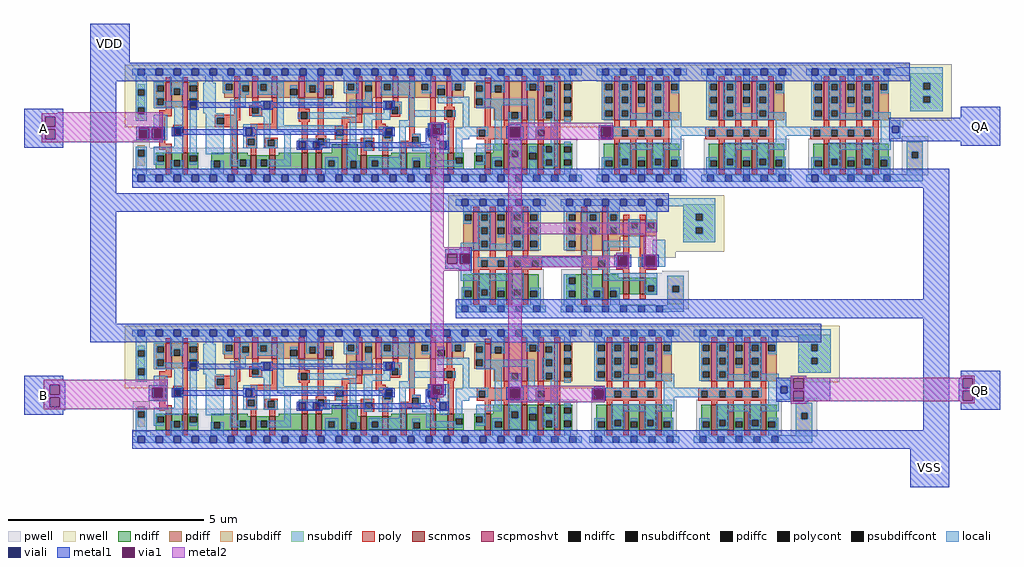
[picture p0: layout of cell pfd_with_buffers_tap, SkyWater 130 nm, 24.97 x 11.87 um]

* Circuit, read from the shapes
.subckt pfd_with_buffers_tap QA A VDD VSS B QB
XM1 VSS B n1 VSS sky130_fd_pr__nfet_01v8 w=0.42 l=0.15
XM2 VSS A n2 VSS sky130_fd_pr__nfet_01v8 w=0.42 l=0.15
XM3 n3 n1 VSS VSS sky130_fd_pr__nfet_01v8 w=0.42 l=0.15
XM4 n4 n2 VSS VSS sky130_fd_pr__nfet_01v8 w=0.42 l=0.15
XM5 n5 VDD VSS VSS sky130_fd_pr__nfet_01v8 w=0.42 l=0.15
XM6 n6 VDD VSS VSS sky130_fd_pr__nfet_01v8 w=0.42 l=0.15
XM7 n7 n1 n5 VSS sky130_fd_pr__nfet_01v8 w=0.36 l=0.15
XM8 n8 n2 n6 VSS sky130_fd_pr__nfet_01v8 w=0.36 l=0.15
XM9 n9 n3 n7 VSS sky130_fd_pr__nfet_01v8 w=0.36 l=0.15
XM10 n10 n4 n8 VSS sky130_fd_pr__nfet_01v8 w=0.36 l=0.15
XM11 n11 n12 n9 VSS sky130_fd_pr__nfet_01v8 w=0.42 l=0.15
XM12 n13 n14 n10 VSS sky130_fd_pr__nfet_01v8 w=0.42 l=0.15
XM13 VSS x1/RESET_B n11 VSS sky130_fd_pr__nfet_01v8 w=0.42 l=0.15
XM14 VSS x1/RESET_B n13 VSS sky130_fd_pr__nfet_01v8 w=0.42 l=0.15
XM15 n12 n7 VSS VSS sky130_fd_pr__nfet_01v8 w=0.64 l=0.15
XM16 n14 n8 VSS VSS sky130_fd_pr__nfet_01v8 w=0.64 l=0.15
XM17 n15 n3 n12 VSS sky130_fd_pr__nfet_01v8 w=0.36 l=0.15
XM18 n16 n4 n14 VSS sky130_fd_pr__nfet_01v8 w=0.36 l=0.15
XM19 n17 n1 n15 VSS sky130_fd_pr__nfet_01v8 w=0.36 l=0.15
XM20 n18 n2 n16 VSS sky130_fd_pr__nfet_01v8 w=0.36 l=0.15
XM21 VSS n19 n17 VSS sky130_fd_pr__nfet_01v8 w=0.42 l=0.15
XM22 VSS n20 n18 VSS sky130_fd_pr__nfet_01v8 w=0.42 l=0.15
XM23 n21 x1/RESET_B VSS VSS sky130_fd_pr__nfet_01v8 w=0.42 l=0.15
XM24 n22 x1/RESET_B VSS VSS sky130_fd_pr__nfet_01v8 w=0.42 l=0.15
XM25 n19 n15 n21 VSS sky130_fd_pr__nfet_01v8 w=0.42 l=0.15
XM26 n20 n16 n22 VSS sky130_fd_pr__nfet_01v8 w=0.42 l=0.15
XM27 x1/RESET_B x4/A VSS VSS sky130_fd_pr__nfet_01v8 w=0.65 l=0.15 m=4
XM28 VSS n19 n23 VSS sky130_fd_pr__nfet_01v8 w=0.42 l=0.15
XM29 VSS n20 n24 VSS sky130_fd_pr__nfet_01v8 w=0.42 l=0.15
XM30 x5/A n19 VSS VSS sky130_fd_pr__nfet_01v8 w=0.65 l=0.15 m=2
XM31 x3/A n20 VSS VSS sky130_fd_pr__nfet_01v8 w=0.65 l=0.15 m=2
XM32 x2/Q_N n23 VSS VSS sky130_fd_pr__nfet_01v8 w=0.65 l=0.15 m=2
XM33 x1/Q_N n24 VSS VSS sky130_fd_pr__nfet_01v8 w=0.65 l=0.15 m=2
XM34 x4/A n25 VSS VSS sky130_fd_pr__nfet_01v8 w=0.65 l=0.15 m=2
XM35 x6/A x5/A VSS VSS sky130_fd_pr__nfet_01v8 w=0.65 l=0.15 m=4
XM36 x8/A x3/A VSS VSS sky130_fd_pr__nfet_01v8 w=0.65 l=0.15 m=4
XM37 n26 x5/A VSS VSS sky130_fd_pr__nfet_01v8 w=0.42 l=0.15
XM38 n25 x3/A n26 VSS sky130_fd_pr__nfet_01v8 w=0.42 l=0.15
XM39 QB x6/A VSS VSS sky130_fd_pr__nfet_01v8 w=0.65 l=0.15 m=4
XM40 x9/A x8/A VSS VSS sky130_fd_pr__nfet_01v8 w=0.65 l=0.15 m=4
XM41 QA x9/A VSS VSS sky130_fd_pr__nfet_01v8 w=0.65 l=0.15 m=4
XM42 VDD B n1 VDD sky130_fd_pr__pfet_01v8_hvt w=0.64 l=0.15
XM43 VDD A n2 VDD sky130_fd_pr__pfet_01v8_hvt w=0.64 l=0.15
XM44 n3 n1 VDD VDD sky130_fd_pr__pfet_01v8_hvt w=0.64 l=0.15
XM45 n4 n2 VDD VDD sky130_fd_pr__pfet_01v8_hvt w=0.64 l=0.15
XM46 n5 VDD VDD VDD sky130_fd_pr__pfet_01v8_hvt w=0.42 l=0.15
XM47 n6 VDD VDD VDD sky130_fd_pr__pfet_01v8_hvt w=0.42 l=0.15
XM48 n7 n3 n5 VDD sky130_fd_pr__pfet_01v8_hvt w=0.42 l=0.15
XM49 n8 n4 n6 VDD sky130_fd_pr__pfet_01v8_hvt w=0.42 l=0.15
XM50 n27 n1 n7 VDD sky130_fd_pr__pfet_01v8_hvt w=0.42 l=0.15
XM51 n28 n2 n8 VDD sky130_fd_pr__pfet_01v8_hvt w=0.42 l=0.15
XM52 VDD n12 n27 VDD sky130_fd_pr__pfet_01v8_hvt w=0.42 l=0.15
XM53 VDD n14 n28 VDD sky130_fd_pr__pfet_01v8_hvt w=0.42 l=0.15
XM54 n27 x1/RESET_B VDD VDD sky130_fd_pr__pfet_01v8_hvt w=0.42 l=0.15
XM55 n28 x1/RESET_B VDD VDD sky130_fd_pr__pfet_01v8_hvt w=0.42 l=0.15
XM56 n12 n7 VDD VDD sky130_fd_pr__pfet_01v8_hvt w=0.84 l=0.15
XM57 n14 n8 VDD VDD sky130_fd_pr__pfet_01v8_hvt w=0.84 l=0.15
XM58 n15 n1 n12 VDD sky130_fd_pr__pfet_01v8_hvt w=0.42 l=0.15
XM59 n16 n2 n14 VDD sky130_fd_pr__pfet_01v8_hvt w=0.42 l=0.15
XM60 n29 n3 n15 VDD sky130_fd_pr__pfet_01v8_hvt w=0.42 l=0.15
XM61 n30 n4 n16 VDD sky130_fd_pr__pfet_01v8_hvt w=0.42 l=0.15
XM62 VDD n19 n29 VDD sky130_fd_pr__pfet_01v8_hvt w=0.42 l=0.15
XM63 VDD n20 n30 VDD sky130_fd_pr__pfet_01v8_hvt w=0.42 l=0.15
XM64 n19 x1/RESET_B VDD VDD sky130_fd_pr__pfet_01v8_hvt w=0.42 l=0.15
XM65 n20 x1/RESET_B VDD VDD sky130_fd_pr__pfet_01v8_hvt w=0.42 l=0.15
XM66 VDD n15 n19 VDD sky130_fd_pr__pfet_01v8_hvt w=0.42 l=0.15
XM67 VDD n16 n20 VDD sky130_fd_pr__pfet_01v8_hvt w=0.42 l=0.15
XM68 x1/RESET_B x4/A VDD VDD sky130_fd_pr__pfet_01v8_hvt w=1 l=0.15 m=4
XM69 VDD n19 n23 VDD sky130_fd_pr__pfet_01v8_hvt w=0.64 l=0.15
XM70 VDD n20 n24 VDD sky130_fd_pr__pfet_01v8_hvt w=0.64 l=0.15
XM71 x5/A n19 VDD VDD sky130_fd_pr__pfet_01v8_hvt w=1 l=0.15 m=2
XM72 x3/A n20 VDD VDD sky130_fd_pr__pfet_01v8_hvt w=1 l=0.15 m=2
XM73 x2/Q_N n23 VDD VDD sky130_fd_pr__pfet_01v8_hvt w=1 l=0.15 m=2
XM74 x1/Q_N n24 VDD VDD sky130_fd_pr__pfet_01v8_hvt w=1 l=0.15 m=2
XM75 x4/A n25 VDD VDD sky130_fd_pr__pfet_01v8_hvt w=1 l=0.15 m=2
XM76 x6/A x5/A VDD VDD sky130_fd_pr__pfet_01v8_hvt w=1 l=0.15 m=4
XM77 x8/A x3/A VDD VDD sky130_fd_pr__pfet_01v8_hvt w=1 l=0.15 m=4
XM78 n25 x5/A VDD VDD sky130_fd_pr__pfet_01v8_hvt w=0.42 l=0.15
XM79 VDD x3/A n25 VDD sky130_fd_pr__pfet_01v8_hvt w=0.42 l=0.15
XM80 QB x6/A VDD VDD sky130_fd_pr__pfet_01v8_hvt w=1 l=0.15 m=4
XM81 x9/A x8/A VDD VDD sky130_fd_pr__pfet_01v8_hvt w=1 l=0.15 m=4
XM82 QA x9/A VDD VDD sky130_fd_pr__pfet_01v8_hvt w=1 l=0.15 m=4
.ends

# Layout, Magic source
magic
tech sky130A
magscale 1 2
<< nwell >>
rect 6072 16 6320 306
rect 4908 -654 5156 -364
rect 5498 -1322 5746 -1032
<< pwell >>
rect 6062 -262 6198 -64
rect 4838 -948 4974 -750
rect 5496 -1598 5632 -1400
<< psubdiff >>
rect 6088 -141 6172 -90
rect 6088 -175 6114 -141
rect 6148 -175 6172 -141
rect 6088 -236 6172 -175
rect 4864 -827 4948 -776
rect 4864 -861 4890 -827
rect 4924 -861 4948 -827
rect 4864 -922 4948 -861
rect 5522 -1477 5606 -1426
rect 5522 -1511 5548 -1477
rect 5582 -1511 5606 -1477
rect 5522 -1572 5606 -1511
<< nsubdiff >>
rect 6108 210 6274 260
rect 6108 176 6174 210
rect 6208 176 6274 210
rect 6108 142 6274 176
rect 6108 108 6174 142
rect 6208 108 6274 142
rect 6108 66 6274 108
rect 4944 -460 5110 -410
rect 4944 -494 5010 -460
rect 5044 -494 5110 -460
rect 4944 -528 5110 -494
rect 4944 -562 5010 -528
rect 5044 -562 5110 -528
rect 4944 -604 5110 -562
rect 5534 -1128 5700 -1078
rect 5534 -1162 5600 -1128
rect 5634 -1162 5700 -1128
rect 5534 -1196 5700 -1162
rect 5534 -1230 5600 -1196
rect 5634 -1230 5700 -1196
rect 5534 -1272 5700 -1230
<< psubdiffcont >>
rect 6114 -175 6148 -141
rect 4890 -861 4924 -827
rect 5548 -1511 5582 -1477
<< nsubdiffcont >>
rect 6174 176 6208 210
rect 6174 108 6208 142
rect 5010 -494 5044 -460
rect 5010 -562 5044 -528
rect 5600 -1162 5634 -1128
rect 5600 -1230 5634 -1196
<< locali >>
rect 2500 204 2538 262
rect 6034 248 6274 290
rect 6108 210 6274 248
rect 6108 176 6174 210
rect 6208 176 6274 210
rect 6108 142 6274 176
rect 6108 108 6174 142
rect 6208 108 6274 142
rect 6108 66 6274 108
rect 6006 -11 6056 20
rect 2158 -31 2280 -20
rect 2158 -65 2166 -31
rect 2200 -65 2238 -31
rect 2272 -65 2280 -31
rect 2158 -76 2280 -65
rect 4060 -26 4108 -14
rect 4060 -60 4067 -26
rect 4101 -60 4108 -26
rect 4536 -23 4570 -22
rect 4536 -58 4570 -57
rect 4896 -60 5068 -14
rect 5436 -60 5608 -14
rect 6006 -45 6014 -11
rect 6048 -45 6056 -11
rect 4060 -72 4108 -60
rect 6006 -76 6056 -45
rect 6088 -141 6172 -90
rect 6088 -175 6114 -141
rect 6148 -175 6172 -141
rect 6088 -256 6172 -175
rect 6004 -272 6172 -256
rect 6034 -294 6172 -272
rect 4870 -420 5110 -380
rect 4944 -460 5110 -420
rect 4944 -494 5010 -460
rect 5044 -494 5110 -460
rect 4944 -528 5110 -494
rect 4944 -562 5010 -528
rect 5044 -562 5110 -528
rect 4944 -604 5110 -562
rect 3808 -674 3858 -644
rect 3808 -708 3816 -674
rect 3850 -708 3858 -674
rect 3808 -738 3858 -708
rect 4220 -732 4428 -682
rect 4614 -718 4622 -684
rect 4656 -718 4664 -684
rect 4752 -716 4760 -682
rect 4794 -716 4802 -682
rect 4864 -827 4948 -776
rect 4864 -861 4890 -827
rect 4924 -861 4948 -827
rect 4864 -928 4948 -861
rect 4620 -930 4948 -928
rect 4864 -962 4948 -930
rect 2502 -1124 2540 -1084
rect 5460 -1088 5700 -1050
rect 5534 -1128 5700 -1088
rect 5534 -1162 5600 -1128
rect 5634 -1162 5700 -1128
rect 5534 -1196 5700 -1162
rect 5534 -1230 5600 -1196
rect 5634 -1230 5700 -1196
rect 5534 -1272 5700 -1230
rect 5428 -1343 5492 -1310
rect 2236 -1360 2284 -1350
rect 4496 -1355 4530 -1354
rect 2236 -1394 2243 -1360
rect 2277 -1394 2284 -1360
rect 2236 -1404 2284 -1394
rect 4068 -1362 4102 -1356
rect 4496 -1390 4530 -1389
rect 4068 -1402 4102 -1396
rect 4846 -1398 5024 -1350
rect 5428 -1377 5443 -1343
rect 5477 -1377 5492 -1343
rect 5428 -1410 5492 -1377
rect 5522 -1477 5606 -1426
rect 5522 -1511 5548 -1477
rect 5582 -1511 5606 -1477
rect 5522 -1594 5606 -1511
rect 5428 -1600 5606 -1594
rect 5458 -1630 5606 -1600
<< viali >>
rect 2166 -65 2200 -31
rect 2238 -65 2272 -31
rect 4067 -60 4101 -26
rect 4536 -57 4570 -23
rect 6014 -45 6048 -11
rect 3816 -708 3850 -674
rect 4622 -718 4656 -684
rect 4760 -716 4794 -682
rect 2243 -1394 2277 -1360
rect 4068 -1396 4102 -1362
rect 4496 -1389 4530 -1355
rect 5443 -1377 5477 -1343
<< metal1 >>
rect 1912 314 2112 514
rect 1912 218 2224 314
rect 4132 220 4540 314
rect 4962 218 5318 314
rect 5498 218 5574 314
rect 5750 218 6104 314
rect 1572 38 1772 78
rect 1572 -14 1680 38
rect 1732 -14 1772 38
rect 1572 -26 1772 -14
rect 1572 -78 1680 -26
rect 1732 -78 1772 -26
rect 1572 -122 1772 -78
rect 1912 -354 2044 218
rect 6366 32 6566 88
rect 3644 -2 3730 0
rect 2146 -22 2292 -14
rect 2146 -74 2161 -22
rect 2213 -74 2225 -22
rect 2277 -74 2292 -22
rect 3644 -54 3661 -2
rect 3713 -54 3730 -2
rect 4054 -12 4114 -2
rect 3644 -56 3730 -54
rect 4040 -17 4128 -12
rect 4040 -69 4058 -17
rect 4110 -69 4128 -17
rect 4040 -74 4128 -69
rect 4514 -13 4586 -6
rect 4514 -65 4524 -13
rect 4576 -65 4586 -13
rect 4514 -72 4586 -65
rect 6000 -11 6566 32
rect 6000 -45 6014 -11
rect 6048 -45 6566 -11
rect 2146 -82 2292 -74
rect 4054 -84 4114 -74
rect 6000 -88 6566 -45
rect 6366 -112 6566 -88
rect 4132 -326 4504 -230
rect 4962 -326 5574 -230
rect 5652 -326 6306 -230
rect 1912 -450 3782 -354
rect 4242 -450 4318 -354
rect 1912 -1022 2044 -450
rect 3802 -640 3864 -632
rect 3728 -664 3864 -640
rect 3728 -716 3738 -664
rect 3790 -716 3802 -664
rect 3854 -716 3864 -664
rect 4592 -673 4680 -668
rect 3728 -740 3864 -716
rect 4220 -732 4434 -680
rect 4592 -725 4610 -673
rect 4662 -725 4680 -673
rect 4592 -730 4680 -725
rect 4732 -673 4820 -668
rect 4732 -725 4750 -673
rect 4802 -725 4820 -673
rect 4732 -730 4820 -725
rect 3802 -750 3864 -740
rect 6174 -898 6306 -326
rect 3782 -994 6306 -898
rect 1912 -1118 2226 -1022
rect 4132 -1116 5652 -1022
rect 1572 -1318 1772 -1288
rect 5422 -1302 5698 -1298
rect 1572 -1334 1782 -1318
rect 1572 -1386 1704 -1334
rect 1756 -1386 1782 -1334
rect 3644 -1334 3730 -1332
rect 1572 -1398 1782 -1386
rect 1572 -1450 1704 -1398
rect 1756 -1450 1782 -1398
rect 2210 -1350 2300 -1336
rect 2210 -1402 2229 -1350
rect 2281 -1402 2300 -1350
rect 3644 -1386 3661 -1334
rect 3713 -1386 3730 -1334
rect 4062 -1348 4108 -1344
rect 3644 -1388 3730 -1386
rect 4040 -1353 4128 -1348
rect 4490 -1352 4536 -1342
rect 5422 -1343 5509 -1302
rect 2210 -1416 2300 -1402
rect 4040 -1405 4058 -1353
rect 4110 -1405 4128 -1353
rect 4040 -1410 4128 -1405
rect 4476 -1355 4548 -1352
rect 4476 -1357 4496 -1355
rect 4530 -1357 4548 -1355
rect 4476 -1409 4486 -1357
rect 4538 -1409 4548 -1357
rect 4062 -1414 4108 -1410
rect 4476 -1414 4548 -1409
rect 5422 -1377 5443 -1343
rect 5477 -1354 5509 -1343
rect 5561 -1354 5698 -1302
rect 5477 -1366 5698 -1354
rect 5477 -1377 5509 -1366
rect 5422 -1418 5509 -1377
rect 5561 -1418 5698 -1366
rect 5422 -1422 5584 -1418
rect 1572 -1466 1782 -1450
rect 1572 -1488 1772 -1466
rect 6174 -1566 6306 -994
rect 6366 -1298 6566 -1262
rect 6356 -1300 6566 -1298
rect 6356 -1352 6375 -1300
rect 6427 -1352 6566 -1300
rect 6356 -1364 6566 -1352
rect 6356 -1416 6375 -1364
rect 6427 -1416 6566 -1364
rect 6356 -1418 6566 -1416
rect 6366 -1462 6566 -1418
rect 4132 -1662 6306 -1566
rect 6106 -1860 6306 -1662
<< via1 >>
rect 1680 -14 1732 38
rect 1680 -78 1732 -26
rect 2161 -31 2213 -22
rect 2161 -65 2166 -31
rect 2166 -65 2200 -31
rect 2200 -65 2213 -31
rect 2161 -74 2213 -65
rect 2225 -31 2277 -22
rect 2225 -65 2238 -31
rect 2238 -65 2272 -31
rect 2272 -65 2277 -31
rect 2225 -74 2277 -65
rect 3661 -54 3713 -2
rect 4058 -26 4110 -17
rect 4058 -60 4067 -26
rect 4067 -60 4101 -26
rect 4101 -60 4110 -26
rect 4058 -69 4110 -60
rect 4524 -23 4576 -13
rect 4524 -57 4536 -23
rect 4536 -57 4570 -23
rect 4570 -57 4576 -23
rect 4524 -65 4576 -57
rect 3738 -716 3790 -664
rect 3802 -674 3854 -664
rect 3802 -708 3816 -674
rect 3816 -708 3850 -674
rect 3850 -708 3854 -674
rect 3802 -716 3854 -708
rect 4610 -684 4662 -673
rect 4610 -718 4622 -684
rect 4622 -718 4656 -684
rect 4656 -718 4662 -684
rect 4610 -725 4662 -718
rect 4750 -682 4802 -673
rect 4750 -716 4760 -682
rect 4760 -716 4794 -682
rect 4794 -716 4802 -682
rect 4750 -725 4802 -716
rect 1704 -1386 1756 -1334
rect 1704 -1450 1756 -1398
rect 2229 -1360 2281 -1350
rect 2229 -1394 2243 -1360
rect 2243 -1394 2277 -1360
rect 2277 -1394 2281 -1360
rect 2229 -1402 2281 -1394
rect 3661 -1386 3713 -1334
rect 4058 -1362 4110 -1353
rect 4058 -1396 4068 -1362
rect 4068 -1396 4102 -1362
rect 4102 -1396 4110 -1362
rect 4058 -1405 4110 -1396
rect 4486 -1389 4496 -1357
rect 4496 -1389 4530 -1357
rect 4530 -1389 4538 -1357
rect 4486 -1409 4538 -1389
rect 5509 -1354 5561 -1302
rect 5509 -1418 5561 -1366
rect 6375 -1352 6427 -1300
rect 6375 -1416 6427 -1364
<< metal2 >>
rect 1744 54 2281 60
rect 1664 38 2281 54
rect 1664 -14 1680 38
rect 1732 -14 2281 38
rect 1664 -22 2281 -14
rect 1664 -26 2161 -22
rect 1664 -78 1680 -26
rect 1732 -74 2161 -26
rect 2213 -74 2225 -22
rect 2277 -74 2281 -22
rect 1732 -78 2281 -74
rect 1664 -94 2281 -78
rect 3654 -2 3720 10
rect 3654 -54 3661 -2
rect 3713 -54 3720 -2
rect 3654 -630 3720 -54
rect 4050 -13 4584 6
rect 4050 -17 4524 -13
rect 4050 -69 4058 -17
rect 4110 -65 4524 -17
rect 4576 -65 4584 -13
rect 4110 -69 4584 -65
rect 4050 -82 4584 -69
rect 4050 -506 4118 -82
rect 4050 -564 4810 -506
rect 3654 -664 3854 -630
rect 3654 -716 3738 -664
rect 3790 -716 3802 -664
rect 4602 -673 4670 -658
rect 4602 -674 4610 -673
rect 3654 -750 3854 -716
rect 4050 -725 4610 -674
rect 4662 -725 4670 -673
rect 4050 -732 4670 -725
rect 1674 -1334 2308 -1310
rect 1674 -1386 1704 -1334
rect 1756 -1350 2308 -1334
rect 1756 -1386 2229 -1350
rect 1674 -1398 2229 -1386
rect 1674 -1450 1704 -1398
rect 1756 -1402 2229 -1398
rect 2281 -1402 2308 -1350
rect 3654 -1334 3720 -750
rect 3654 -1386 3661 -1334
rect 3713 -1386 3720 -1334
rect 3654 -1398 3720 -1386
rect 4050 -1340 4118 -732
rect 4602 -740 4670 -732
rect 4742 -673 4810 -564
rect 4742 -725 4750 -673
rect 4802 -725 4810 -673
rect 4742 -740 4810 -725
rect 5496 -1298 5574 -1288
rect 6366 -1298 6436 -1288
rect 5496 -1300 6436 -1298
rect 5496 -1302 6375 -1300
rect 4050 -1353 4544 -1340
rect 1756 -1450 2308 -1402
rect 4050 -1405 4058 -1353
rect 4110 -1357 4544 -1353
rect 4110 -1405 4486 -1357
rect 4050 -1409 4486 -1405
rect 4538 -1409 4544 -1357
rect 4050 -1424 4544 -1409
rect 5496 -1354 5509 -1302
rect 5561 -1352 6375 -1302
rect 6427 -1352 6436 -1300
rect 5561 -1354 6436 -1352
rect 5496 -1364 6436 -1354
rect 5496 -1366 6375 -1364
rect 5496 -1418 5509 -1366
rect 5561 -1416 6375 -1366
rect 6427 -1416 6436 -1364
rect 5561 -1418 6436 -1416
rect 5496 -1432 5574 -1418
rect 6366 -1428 6436 -1418
rect 1674 -1460 2308 -1450
use sky130_fd_sc_hd__tapvpwrvgnd_1  sky130_fd_sc_hd__tapvpwrvgnd_1_0 $PDKPATH/libs.ref/sky130_fd_sc_hd/mag
transform 1 0 2126 0 1 -1614
box -38 -48 130 592
use sky130_fd_sc_hd__tapvpwrvgnd_1  sky130_fd_sc_hd__tapvpwrvgnd_1_1
transform 1 0 2126 0 1 -278
box -38 -48 130 592
use sky130_fd_sc_hd__dfrbp_2#0  x1
transform 1 0 2218 0 1 -278
box -38 -48 2246 592
use sky130_fd_sc_hd__dfrbp_2#0  x2
transform 1 0 2218 0 1 -1614
box -38 -48 2246 592
use sky130_fd_sc_hd__and2_2#0  x3
transform -1 0 4870 0 1 -946
box -38 -48 590 592
use sky130_fd_sc_hd__inv_4#0  x4
transform -1 0 4242 0 1 -946
box -38 -48 498 592
use sky130_fd_sc_hd__inv_4#0  x5
transform 1 0 4464 0 1 -1614
box -38 -48 498 592
use sky130_fd_sc_hd__inv_4#0  x6
transform 1 0 5000 0 1 -1614
box -38 -48 498 592
use sky130_fd_sc_hd__inv_4#0  x7
transform 1 0 4502 0 1 -278
box -38 -48 498 592
use sky130_fd_sc_hd__inv_4#0  x8
transform 1 0 5038 0 1 -278
box -38 -48 498 592
use sky130_fd_sc_hd__inv_4#0  x9
transform 1 0 5574 0 1 -278
box -38 -48 498 592
<< labels >>
flabel metal1 s 6366 -112 6566 88 0 FreeSans 626 0 0 0 QA
port 1 nsew
flabel metal1 s 1572 -122 1772 78 0 FreeSans 626 0 0 0 A
port 2 nsew
flabel metal1 s 1912 314 2112 514 0 FreeSans 626 180 0 0 VDD
port 3 nsew
flabel metal1 s 6106 -1860 6306 -1660 0 FreeSans 626 180 0 0 VSS
port 4 nsew
flabel metal1 s 1572 -1488 1772 -1288 0 FreeSans 626 0 0 0 B
port 5 nsew
flabel metal1 s 6366 -1462 6566 -1262 0 FreeSans 626 0 0 0 QB
port 6 nsew
<< end >>

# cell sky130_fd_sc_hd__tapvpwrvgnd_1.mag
magic
tech sky130A
magscale 1 2
<< nwell >>
rect -38 261 130 582
<< pwell >>
rect 3 38 89 195
<< psubdiff >>
rect 29 145 63 169
rect 29 64 63 111
<< nsubdiff >>
rect 29 456 63 480
rect 29 363 63 422
rect 29 305 63 329
<< psubdiffcont >>
rect 29 111 63 145
<< nsubdiffcont >>
rect 29 422 63 456
rect 29 329 63 363
<< locali >>
rect 0 527 29 561
rect 63 527 92 561
rect 17 456 75 527
rect 17 422 29 456
rect 63 422 75 456
rect 17 363 75 422
rect 17 329 29 363
rect 63 329 75 363
rect 17 294 75 329
rect 17 145 75 162
rect 17 111 29 145
rect 63 111 75 145
rect 17 17 75 111
rect 0 -17 29 17
rect 63 -17 92 17
<< viali >>
rect 29 527 63 561
rect 29 -17 63 17
<< metal1 >>
rect 0 561 92 592
rect 0 527 29 561
rect 63 527 92 561
rect 0 496 92 527
rect 0 17 92 48
rect 0 -17 29 17
rect 63 -17 92 17
rect 0 -48 92 -17
<< labels >>
flabel metal1 s 21 -18 72 20 0 FreeSans 250 0 0 0 VGND
port 1 nsew
flabel metal1 s 22 524 75 553 0 FreeSans 250 0 0 0 VPWR
port 2 nsew
<< properties >>
string FIXED_BBOX 0 0 92 544
<< end >>

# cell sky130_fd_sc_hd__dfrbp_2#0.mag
magic
tech sky130A
magscale 1 2
<< nwell >>
rect -38 261 2246 582
<< pwell >>
rect 903 157 1089 201
rect 1730 157 2186 203
rect 1 21 2186 157
rect 29 -17 63 21
<< scnmos >>
rect 79 47 109 131
rect 163 47 193 131
rect 418 47 448 131
rect 513 47 543 119
rect 609 47 639 119
rect 775 47 805 131
rect 847 47 877 131
rect 979 47 1009 175
rect 1078 47 1108 119
rect 1187 47 1217 119
rect 1283 47 1313 131
rect 1432 47 1462 131
rect 1523 47 1553 131
rect 1711 47 1741 131
rect 1808 47 1838 177
rect 1900 47 1930 177
rect 1984 47 2014 177
rect 2068 47 2098 177
<< scpmoshvt >>
rect 79 363 109 491
rect 163 363 193 491
rect 430 413 460 497
rect 522 413 552 497
rect 621 413 651 497
rect 761 413 791 497
rect 858 413 888 497
rect 1055 329 1085 497
rect 1154 413 1184 497
rect 1240 413 1270 497
rect 1324 413 1354 497
rect 1432 413 1462 497
rect 1516 413 1546 497
rect 1711 361 1741 489
rect 1808 297 1838 497
rect 1900 297 1930 497
rect 1984 297 2014 497
rect 2068 297 2098 497
<< ndiff >>
rect 27 119 79 131
rect 27 85 35 119
rect 69 85 79 119
rect 27 47 79 85
rect 109 93 163 131
rect 109 59 119 93
rect 153 59 163 93
rect 109 47 163 59
rect 193 119 245 131
rect 193 85 203 119
rect 237 85 245 119
rect 193 47 245 85
rect 313 89 418 131
rect 313 55 325 89
rect 359 55 418 89
rect 313 47 418 55
rect 448 119 498 131
rect 929 131 979 175
rect 657 119 775 131
rect 448 95 513 119
rect 448 61 458 95
rect 492 61 513 95
rect 448 47 513 61
rect 543 95 609 119
rect 543 61 565 95
rect 599 61 609 95
rect 543 47 609 61
rect 639 47 775 119
rect 805 47 847 131
rect 877 93 979 131
rect 877 59 911 93
rect 945 59 979 93
rect 877 47 979 59
rect 1009 119 1063 175
rect 1756 131 1808 177
rect 1233 119 1283 131
rect 1009 89 1078 119
rect 1009 55 1023 89
rect 1057 55 1078 89
rect 1009 47 1078 55
rect 1108 93 1187 119
rect 1108 59 1133 93
rect 1167 59 1187 93
rect 1108 47 1187 59
rect 1217 47 1283 119
rect 1313 89 1432 131
rect 1313 55 1345 89
rect 1379 55 1432 89
rect 1313 47 1432 55
rect 1462 47 1523 131
rect 1553 109 1605 131
rect 1553 75 1563 109
rect 1597 75 1605 109
rect 1553 47 1605 75
rect 1659 119 1711 131
rect 1659 85 1667 119
rect 1701 85 1711 119
rect 1659 47 1711 85
rect 1741 93 1808 131
rect 1741 59 1764 93
rect 1798 59 1808 93
rect 1741 47 1808 59
rect 1838 143 1900 177
rect 1838 109 1848 143
rect 1882 109 1900 143
rect 1838 47 1900 109
rect 1930 130 1984 177
rect 1930 96 1940 130
rect 1974 96 1984 130
rect 1930 47 1984 96
rect 2014 165 2068 177
rect 2014 131 2024 165
rect 2058 131 2068 165
rect 2014 97 2068 131
rect 2014 63 2024 97
rect 2058 63 2068 97
rect 2014 47 2068 63
rect 2098 165 2160 177
rect 2098 131 2118 165
rect 2152 131 2160 165
rect 2098 97 2160 131
rect 2098 63 2118 97
rect 2152 63 2160 97
rect 2098 47 2160 63
<< pdiff >>
rect 27 477 79 491
rect 27 443 35 477
rect 69 443 79 477
rect 27 409 79 443
rect 27 375 35 409
rect 69 375 79 409
rect 27 363 79 375
rect 109 461 163 491
rect 109 427 119 461
rect 153 427 163 461
rect 109 363 163 427
rect 193 477 245 491
rect 193 443 203 477
rect 237 443 245 477
rect 193 409 245 443
rect 378 485 430 497
rect 378 451 386 485
rect 420 451 430 485
rect 378 413 430 451
rect 460 477 522 497
rect 460 443 470 477
rect 504 443 522 477
rect 460 413 522 443
rect 552 483 621 497
rect 552 449 563 483
rect 597 449 621 483
rect 552 413 621 449
rect 651 459 761 497
rect 651 425 717 459
rect 751 425 761 459
rect 651 413 761 425
rect 791 475 858 497
rect 791 441 814 475
rect 848 441 858 475
rect 791 413 858 441
rect 888 459 940 497
rect 888 425 898 459
rect 932 425 940 459
rect 888 413 940 425
rect 1003 485 1055 497
rect 1003 451 1011 485
rect 1045 451 1055 485
rect 193 375 203 409
rect 237 375 245 409
rect 193 363 245 375
rect 1003 329 1055 451
rect 1085 477 1154 497
rect 1085 443 1099 477
rect 1133 443 1154 477
rect 1085 413 1154 443
rect 1184 484 1240 497
rect 1184 450 1196 484
rect 1230 450 1240 484
rect 1184 413 1240 450
rect 1270 413 1324 497
rect 1354 485 1432 497
rect 1354 451 1388 485
rect 1422 451 1432 485
rect 1354 413 1432 451
rect 1462 459 1516 497
rect 1462 425 1472 459
rect 1506 425 1516 459
rect 1462 413 1516 425
rect 1546 485 1603 497
rect 1758 489 1808 497
rect 1546 451 1558 485
rect 1592 451 1603 485
rect 1546 413 1603 451
rect 1659 477 1711 489
rect 1659 443 1667 477
rect 1701 443 1711 477
rect 1085 329 1139 413
rect 1659 409 1711 443
rect 1659 375 1667 409
rect 1701 375 1711 409
rect 1659 361 1711 375
rect 1741 475 1808 489
rect 1741 441 1764 475
rect 1798 441 1808 475
rect 1741 361 1808 441
rect 1758 297 1808 361
rect 1838 339 1900 497
rect 1838 305 1848 339
rect 1882 305 1900 339
rect 1838 297 1900 305
rect 1930 485 1984 497
rect 1930 451 1940 485
rect 1974 451 1984 485
rect 1930 297 1984 451
rect 2014 477 2068 497
rect 2014 443 2024 477
rect 2058 443 2068 477
rect 2014 409 2068 443
rect 2014 375 2024 409
rect 2058 375 2068 409
rect 2014 341 2068 375
rect 2014 307 2024 341
rect 2058 307 2068 341
rect 2014 297 2068 307
rect 2098 485 2160 497
rect 2098 451 2118 485
rect 2152 451 2160 485
rect 2098 417 2160 451
rect 2098 383 2118 417
rect 2152 383 2160 417
rect 2098 349 2160 383
rect 2098 315 2118 349
rect 2152 315 2160 349
rect 2098 297 2160 315
<< ndiffc >>
rect 35 85 69 119
rect 119 59 153 93
rect 203 85 237 119
rect 325 55 359 89
rect 458 61 492 95
rect 565 61 599 95
rect 911 59 945 93
rect 1023 55 1057 89
rect 1133 59 1167 93
rect 1345 55 1379 89
rect 1563 75 1597 109
rect 1667 85 1701 119
rect 1764 59 1798 93
rect 1848 109 1882 143
rect 1940 96 1974 130
rect 2024 131 2058 165
rect 2024 63 2058 97
rect 2118 131 2152 165
rect 2118 63 2152 97
<< pdiffc >>
rect 35 443 69 477
rect 35 375 69 409
rect 119 427 153 461
rect 203 443 237 477
rect 386 451 420 485
rect 470 443 504 477
rect 563 449 597 483
rect 717 425 751 459
rect 814 441 848 475
rect 898 425 932 459
rect 1011 451 1045 485
rect 203 375 237 409
rect 1099 443 1133 477
rect 1196 450 1230 484
rect 1388 451 1422 485
rect 1472 425 1506 459
rect 1558 451 1592 485
rect 1667 443 1701 477
rect 1667 375 1701 409
rect 1764 441 1798 475
rect 1848 305 1882 339
rect 1940 451 1974 485
rect 2024 443 2058 477
rect 2024 375 2058 409
rect 2024 307 2058 341
rect 2118 451 2152 485
rect 2118 383 2152 417
rect 2118 315 2152 349
<< poly >>
rect 79 491 109 517
rect 163 491 193 517
rect 430 497 460 523
rect 522 497 552 523
rect 621 497 651 523
rect 761 497 791 523
rect 858 497 888 523
rect 1055 497 1085 523
rect 1154 497 1184 523
rect 1240 497 1270 523
rect 1324 497 1354 523
rect 1432 497 1462 523
rect 1516 497 1546 523
rect 79 348 109 363
rect 46 318 109 348
rect 46 265 76 318
rect 163 274 193 363
rect 430 326 460 413
rect 522 375 552 413
rect 22 249 76 265
rect 22 215 32 249
rect 66 215 76 249
rect 118 264 193 274
rect 118 230 134 264
rect 168 230 193 264
rect 331 310 460 326
rect 506 365 572 375
rect 506 331 522 365
rect 556 331 572 365
rect 506 321 572 331
rect 331 276 341 310
rect 375 296 460 310
rect 375 276 448 296
rect 621 279 651 413
rect 761 355 791 413
rect 761 339 816 355
rect 761 305 771 339
rect 805 305 816 339
rect 761 289 816 305
rect 331 260 448 276
rect 118 220 193 230
rect 22 199 76 215
rect 46 176 76 199
rect 46 146 109 176
rect 79 131 109 146
rect 163 131 193 220
rect 418 131 448 260
rect 513 249 651 279
rect 513 219 544 249
rect 490 203 544 219
rect 490 169 500 203
rect 534 169 544 203
rect 490 153 544 169
rect 586 197 652 207
rect 586 163 602 197
rect 636 163 652 197
rect 586 153 652 163
rect 513 119 543 153
rect 609 119 639 153
rect 775 131 805 289
rect 858 219 888 413
rect 1711 489 1741 515
rect 1808 497 1838 523
rect 1900 497 1930 523
rect 1984 497 2014 523
rect 2068 497 2098 523
rect 1055 314 1085 329
rect 979 284 1085 314
rect 979 267 1009 284
rect 943 251 1009 267
rect 847 203 901 219
rect 847 169 857 203
rect 891 169 901 203
rect 943 217 953 251
rect 987 217 1009 251
rect 1154 279 1184 413
rect 1240 381 1270 413
rect 1226 365 1280 381
rect 1226 331 1236 365
rect 1270 331 1280 365
rect 1226 315 1280 331
rect 1154 267 1204 279
rect 1154 255 1217 267
rect 1154 249 1241 255
rect 1175 239 1241 249
rect 1175 237 1197 239
rect 943 201 1009 217
rect 979 175 1009 201
rect 1078 191 1145 207
rect 847 153 901 169
rect 847 131 877 153
rect 1078 157 1101 191
rect 1135 157 1145 191
rect 1078 141 1145 157
rect 1187 205 1197 237
rect 1231 205 1241 239
rect 1187 189 1241 205
rect 1324 229 1354 413
rect 1432 257 1462 413
rect 1516 365 1546 413
rect 1504 349 1558 365
rect 1504 315 1514 349
rect 1548 315 1558 349
rect 1504 299 1558 315
rect 1427 241 1481 257
rect 1324 213 1385 229
rect 1324 193 1341 213
rect 1078 119 1108 141
rect 1187 119 1217 189
rect 1283 179 1341 193
rect 1375 179 1385 213
rect 1427 207 1437 241
rect 1471 207 1481 241
rect 1427 191 1481 207
rect 1283 163 1385 179
rect 1283 131 1313 163
rect 1432 131 1462 191
rect 1523 131 1553 299
rect 1711 265 1741 361
rect 1808 265 1838 297
rect 1900 265 1930 297
rect 1984 265 2014 297
rect 2068 265 2098 297
rect 1670 249 1930 265
rect 1670 215 1680 249
rect 1714 215 1930 249
rect 1670 199 1930 215
rect 1972 249 2098 265
rect 1972 215 1982 249
rect 2016 215 2098 249
rect 1972 199 2098 215
rect 1711 131 1741 199
rect 1808 177 1838 199
rect 1900 177 1930 199
rect 1984 177 2014 199
rect 2068 177 2098 199
rect 79 21 109 47
rect 163 21 193 47
rect 418 21 448 47
rect 513 21 543 47
rect 609 21 639 47
rect 775 21 805 47
rect 847 21 877 47
rect 979 21 1009 47
rect 1078 21 1108 47
rect 1187 21 1217 47
rect 1283 21 1313 47
rect 1432 21 1462 47
rect 1523 21 1553 47
rect 1711 21 1741 47
rect 1808 21 1838 47
rect 1900 21 1930 47
rect 1984 21 2014 47
rect 2068 21 2098 47
<< polycont >>
rect 32 215 66 249
rect 134 230 168 264
rect 522 331 556 365
rect 341 276 375 310
rect 771 305 805 339
rect 500 169 534 203
rect 602 163 636 197
rect 857 169 891 203
rect 953 217 987 251
rect 1236 331 1270 365
rect 1101 157 1135 191
rect 1197 205 1231 239
rect 1514 315 1548 349
rect 1341 179 1375 213
rect 1437 207 1471 241
rect 1680 215 1714 249
rect 1982 215 2016 249
<< locali >>
rect 0 527 29 561
rect 63 527 121 561
rect 155 527 213 561
rect 247 527 305 561
rect 339 527 397 561
rect 431 527 489 561
rect 523 527 581 561
rect 615 527 673 561
rect 707 527 765 561
rect 799 527 857 561
rect 891 527 949 561
rect 983 527 1041 561
rect 1075 527 1133 561
rect 1167 527 1225 561
rect 1259 527 1317 561
rect 1351 527 1409 561
rect 1443 527 1501 561
rect 1535 527 1593 561
rect 1627 527 1685 561
rect 1719 527 1777 561
rect 1811 527 1869 561
rect 1903 527 1961 561
rect 1995 527 2053 561
rect 2087 527 2145 561
rect 2179 527 2208 561
rect 18 477 69 493
rect 18 443 35 477
rect 18 409 69 443
rect 103 461 169 527
rect 103 427 119 461
rect 153 427 169 461
rect 203 477 237 493
rect 18 375 35 409
rect 203 409 237 443
rect 69 375 168 393
rect 18 359 168 375
rect 18 249 88 325
rect 18 215 32 249
rect 66 215 88 249
rect 18 195 88 215
rect 122 264 168 359
rect 122 255 134 264
rect 156 221 168 230
rect 122 161 168 221
rect 18 127 168 161
rect 18 119 69 127
rect 18 85 35 119
rect 203 119 237 357
rect 271 333 336 490
rect 370 485 420 527
rect 370 451 386 485
rect 370 435 420 451
rect 454 477 504 493
rect 454 443 470 477
rect 454 427 504 443
rect 547 483 683 493
rect 547 449 563 483
rect 597 449 683 483
rect 798 475 864 527
rect 991 485 1065 527
rect 547 427 683 449
rect 454 401 488 427
rect 409 367 488 401
rect 522 391 615 393
rect 283 310 375 333
rect 283 276 341 310
rect 283 123 375 276
rect 18 69 69 85
rect 103 59 119 93
rect 153 59 169 93
rect 409 95 443 367
rect 522 365 581 391
rect 556 357 581 365
rect 556 331 615 357
rect 522 315 615 331
rect 477 255 547 277
rect 477 221 489 255
rect 523 221 547 255
rect 477 203 547 221
rect 477 169 500 203
rect 534 169 547 203
rect 477 153 547 169
rect 581 197 615 315
rect 649 271 683 427
rect 717 459 751 475
rect 798 441 814 475
rect 848 441 864 475
rect 898 459 932 475
rect 717 407 751 425
rect 991 451 1011 485
rect 1045 451 1065 485
rect 991 435 1065 451
rect 1099 477 1133 493
rect 898 407 932 425
rect 717 373 932 407
rect 1099 401 1133 443
rect 1180 484 1354 493
rect 1180 450 1196 484
rect 1230 450 1354 484
rect 1180 425 1354 450
rect 1388 485 1438 527
rect 1422 451 1438 485
rect 1542 485 1611 527
rect 1388 435 1438 451
rect 1472 459 1506 475
rect 1021 367 1133 401
rect 1021 339 1055 367
rect 755 305 771 339
rect 805 305 1055 339
rect 1194 357 1205 391
rect 1239 365 1286 391
rect 1194 333 1236 357
rect 649 251 987 271
rect 649 237 953 251
rect 581 163 602 197
rect 636 163 652 197
rect 581 153 652 163
rect 686 95 720 237
rect 761 187 857 203
rect 795 153 833 187
rect 891 169 919 203
rect 953 201 987 217
rect 867 153 919 169
rect 1021 167 1055 305
rect 203 69 237 85
rect 103 17 169 59
rect 309 55 325 89
rect 359 55 375 89
rect 409 61 458 95
rect 492 61 508 95
rect 549 61 565 95
rect 599 61 720 95
rect 895 93 961 109
rect 309 17 375 55
rect 895 59 911 93
rect 945 59 961 93
rect 895 17 961 59
rect 1003 89 1055 167
rect 1093 331 1236 333
rect 1270 331 1286 365
rect 1320 349 1354 425
rect 1542 451 1558 485
rect 1592 451 1611 485
rect 1667 477 1712 493
rect 1472 417 1506 425
rect 1701 443 1712 477
rect 1472 383 1632 417
rect 1093 299 1228 331
rect 1320 315 1514 349
rect 1548 315 1564 349
rect 1093 191 1135 299
rect 1320 297 1354 315
rect 1093 157 1101 191
rect 1093 141 1135 157
rect 1169 255 1239 265
rect 1169 239 1205 255
rect 1169 205 1197 239
rect 1231 205 1239 221
rect 1169 141 1239 205
rect 1273 263 1354 297
rect 1273 107 1307 263
rect 1421 250 1529 281
rect 1598 265 1632 383
rect 1667 409 1712 443
rect 1746 475 1814 527
rect 1746 441 1764 475
rect 1798 441 1814 475
rect 1924 485 1990 527
rect 1924 451 1940 485
rect 1974 451 1990 485
rect 2024 477 2084 493
rect 2058 443 2084 477
rect 2024 416 2084 443
rect 1701 407 1712 409
rect 2006 409 2084 416
rect 1701 375 1967 407
rect 1667 373 1967 375
rect 1667 359 1798 373
rect 1598 259 1730 265
rect 1455 241 1529 250
rect 1341 213 1385 229
rect 1375 179 1385 213
rect 1421 207 1437 216
rect 1471 207 1529 241
rect 1341 173 1385 179
rect 1481 187 1529 207
rect 1341 139 1447 173
rect 1117 93 1307 107
rect 1003 55 1023 89
rect 1057 55 1073 89
rect 1117 59 1133 93
rect 1167 59 1307 93
rect 1117 51 1307 59
rect 1341 89 1379 105
rect 1341 55 1345 89
rect 1413 93 1447 139
rect 1515 153 1529 187
rect 1481 127 1529 153
rect 1563 249 1730 259
rect 1563 215 1680 249
rect 1714 215 1730 249
rect 1563 199 1632 215
rect 1563 109 1597 199
rect 1764 177 1798 359
rect 1413 75 1563 93
rect 1413 59 1597 75
rect 1667 143 1798 177
rect 1832 305 1848 339
rect 1882 305 1899 339
rect 1832 143 1899 305
rect 1933 265 1967 373
rect 2006 375 2024 409
rect 2058 375 2084 409
rect 2006 341 2084 375
rect 2006 307 2024 341
rect 2058 307 2084 341
rect 1933 249 2016 265
rect 1933 215 1982 249
rect 1933 199 2016 215
rect 2050 165 2084 307
rect 2118 485 2152 527
rect 2118 417 2152 451
rect 2118 349 2152 383
rect 2118 289 2152 315
rect 1667 119 1717 143
rect 1701 85 1717 119
rect 1832 109 1848 143
rect 1882 109 1899 143
rect 1667 69 1717 85
rect 1751 93 1798 109
rect 1751 59 1764 93
rect 1341 17 1379 55
rect 1751 17 1798 59
rect 1832 53 1899 109
rect 1940 130 1974 165
rect 1940 17 1974 96
rect 2008 131 2024 165
rect 2058 131 2084 165
rect 2008 97 2084 131
rect 2008 63 2024 97
rect 2058 63 2084 97
rect 2008 62 2084 63
rect 2118 165 2152 186
rect 2118 97 2152 131
rect 2118 17 2152 63
rect 0 -17 29 17
rect 63 -17 121 17
rect 155 -17 213 17
rect 247 -17 305 17
rect 339 -17 397 17
rect 431 -17 489 17
rect 523 -17 581 17
rect 615 -17 673 17
rect 707 -17 765 17
rect 799 -17 857 17
rect 891 -17 949 17
rect 983 -17 1041 17
rect 1075 -17 1133 17
rect 1167 -17 1225 17
rect 1259 -17 1317 17
rect 1351 -17 1409 17
rect 1443 -17 1501 17
rect 1535 -17 1593 17
rect 1627 -17 1685 17
rect 1719 -17 1777 17
rect 1811 -17 1869 17
rect 1903 -17 1961 17
rect 1995 -17 2053 17
rect 2087 -17 2145 17
rect 2179 -17 2208 17
<< viali >>
rect 29 527 63 561
rect 121 527 155 561
rect 213 527 247 561
rect 305 527 339 561
rect 397 527 431 561
rect 489 527 523 561
rect 581 527 615 561
rect 673 527 707 561
rect 765 527 799 561
rect 857 527 891 561
rect 949 527 983 561
rect 1041 527 1075 561
rect 1133 527 1167 561
rect 1225 527 1259 561
rect 1317 527 1351 561
rect 1409 527 1443 561
rect 1501 527 1535 561
rect 1593 527 1627 561
rect 1685 527 1719 561
rect 1777 527 1811 561
rect 1869 527 1903 561
rect 1961 527 1995 561
rect 2053 527 2087 561
rect 2145 527 2179 561
rect 122 230 134 255
rect 134 230 156 255
rect 122 221 156 230
rect 203 375 237 391
rect 203 357 237 375
rect 581 357 615 391
rect 489 221 523 255
rect 1205 365 1239 391
rect 1205 357 1236 365
rect 1236 357 1239 365
rect 761 153 795 187
rect 833 169 857 187
rect 857 169 867 187
rect 833 153 867 169
rect 1205 239 1239 255
rect 1205 221 1231 239
rect 1231 221 1239 239
rect 1421 241 1455 250
rect 1421 216 1437 241
rect 1437 216 1455 241
rect 1481 153 1515 187
rect 29 -17 63 17
rect 121 -17 155 17
rect 213 -17 247 17
rect 305 -17 339 17
rect 397 -17 431 17
rect 489 -17 523 17
rect 581 -17 615 17
rect 673 -17 707 17
rect 765 -17 799 17
rect 857 -17 891 17
rect 949 -17 983 17
rect 1041 -17 1075 17
rect 1133 -17 1167 17
rect 1225 -17 1259 17
rect 1317 -17 1351 17
rect 1409 -17 1443 17
rect 1501 -17 1535 17
rect 1593 -17 1627 17
rect 1685 -17 1719 17
rect 1777 -17 1811 17
rect 1869 -17 1903 17
rect 1961 -17 1995 17
rect 2053 -17 2087 17
rect 2145 -17 2179 17
<< metal1 >>
rect 0 561 2208 592
rect 0 527 29 561
rect 63 527 121 561
rect 155 527 213 561
rect 247 527 305 561
rect 339 527 397 561
rect 431 527 489 561
rect 523 527 581 561
rect 615 527 673 561
rect 707 527 765 561
rect 799 527 857 561
rect 891 527 949 561
rect 983 527 1041 561
rect 1075 527 1133 561
rect 1167 527 1225 561
rect 1259 527 1317 561
rect 1351 527 1409 561
rect 1443 527 1501 561
rect 1535 527 1593 561
rect 1627 527 1685 561
rect 1719 527 1777 561
rect 1811 527 1869 561
rect 1903 527 1961 561
rect 1995 527 2053 561
rect 2087 527 2145 561
rect 2179 527 2208 561
rect 0 496 2208 527
rect 191 391 249 397
rect 191 357 203 391
rect 237 388 249 391
rect 569 391 627 397
rect 569 388 581 391
rect 237 360 581 388
rect 237 357 249 360
rect 191 351 249 357
rect 569 357 581 360
rect 615 388 627 391
rect 1193 391 1251 397
rect 1193 388 1205 391
rect 615 360 1205 388
rect 615 357 627 360
rect 569 351 627 357
rect 1193 357 1205 360
rect 1239 357 1251 391
rect 1193 351 1251 357
rect 110 255 168 261
rect 110 221 122 255
rect 156 252 168 255
rect 477 255 535 261
rect 477 252 489 255
rect 156 224 489 252
rect 156 221 168 224
rect 110 215 168 221
rect 477 221 489 224
rect 523 252 535 255
rect 1193 255 1251 261
rect 1193 252 1205 255
rect 523 224 1205 252
rect 523 221 535 224
rect 477 215 535 221
rect 1193 221 1205 224
rect 1239 221 1251 255
rect 1193 215 1251 221
rect 1409 250 1467 256
rect 1409 216 1421 250
rect 1455 216 1467 250
rect 1409 193 1467 216
rect 749 187 879 193
rect 749 153 761 187
rect 795 153 833 187
rect 867 184 879 187
rect 1409 187 1527 193
rect 1409 184 1481 187
rect 867 156 1481 184
rect 867 153 879 156
rect 749 147 879 153
rect 1469 153 1481 156
rect 1515 153 1527 187
rect 1469 147 1527 153
rect 0 17 2208 48
rect 0 -17 29 17
rect 63 -17 121 17
rect 155 -17 213 17
rect 247 -17 305 17
rect 339 -17 397 17
rect 431 -17 489 17
rect 523 -17 581 17
rect 615 -17 673 17
rect 707 -17 765 17
rect 799 -17 857 17
rect 891 -17 949 17
rect 983 -17 1041 17
rect 1075 -17 1133 17
rect 1167 -17 1225 17
rect 1259 -17 1317 17
rect 1351 -17 1409 17
rect 1443 -17 1501 17
rect 1535 -17 1593 17
rect 1627 -17 1685 17
rect 1719 -17 1777 17
rect 1811 -17 1869 17
rect 1903 -17 1961 17
rect 1995 -17 2053 17
rect 2087 -17 2145 17
rect 2179 -17 2208 17
rect 0 -48 2208 -17
<< labels >>
flabel metal1 s 29 -17 63 17 0 FreeSans 390 0 0 0 VGND
port 1 nsew
flabel metal1 s 29 527 63 561 0 FreeSans 390 0 0 0 VPWR
port 2 nsew
flabel pwell s 29 -17 63 17 0 FreeSans 390 0 0 0 VNB
port 3 nsew
flabel nwell s 29 527 63 561 0 FreeSans 390 0 0 0 VPB
port 4 nsew
flabel locali s 30 221 64 255 0 FreeSans 782 0 0 0 CLK
port 5 nsew
flabel locali s 30 289 64 323 0 FreeSans 782 0 0 0 CLK
port 5 nsew
flabel locali s 305 289 339 323 0 FreeSans 782 0 0 0 D
port 6 nsew
flabel locali s 1481 221 1515 255 0 FreeSans 782 0 0 0 RESET_B
port 7 nsew
flabel locali s 1481 153 1515 187 0 FreeSans 782 0 0 0 RESET_B
port 7 nsew
flabel locali s 2055 222 2078 257 0 FreeSans 390 0 0 0 Q_N
port 8 nsew
flabel locali s 1851 213 1883 249 0 FreeSans 390 0 0 0 Q
port 9 nsew
<< properties >>
string FIXED_BBOX 0 0 2208 544
<< end >>

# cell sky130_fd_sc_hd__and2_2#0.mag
magic
tech sky130A
magscale 1 2
<< nwell >>
rect -38 261 590 582
<< pwell >>
rect 231 185 549 203
rect 35 21 549 185
rect 35 17 63 21
rect 29 -17 63 17
<< scnmos >>
rect 117 75 147 159
rect 201 75 231 159
rect 309 47 339 177
rect 417 47 447 177
<< scpmoshvt >>
rect 117 371 147 455
rect 201 371 231 455
rect 309 297 339 497
rect 417 297 447 497
<< ndiff >>
rect 257 159 309 177
rect 61 121 117 159
rect 61 87 73 121
rect 107 87 117 121
rect 61 75 117 87
rect 147 75 201 159
rect 231 93 309 159
rect 231 75 265 93
rect 257 59 265 75
rect 299 59 309 93
rect 257 47 309 59
rect 339 93 417 177
rect 339 59 349 93
rect 383 59 417 93
rect 339 47 417 59
rect 447 161 523 177
rect 447 127 477 161
rect 511 127 523 161
rect 447 93 523 127
rect 447 59 477 93
rect 511 59 523 93
rect 447 47 523 59
<< pdiff >>
rect 257 485 309 497
rect 257 455 265 485
rect 61 443 117 455
rect 61 409 73 443
rect 107 409 117 443
rect 61 371 117 409
rect 147 443 201 455
rect 147 409 157 443
rect 191 409 201 443
rect 147 371 201 409
rect 231 451 265 455
rect 299 451 309 485
rect 231 417 309 451
rect 231 383 265 417
rect 299 383 309 417
rect 231 371 309 383
rect 247 297 309 371
rect 339 485 417 497
rect 339 451 369 485
rect 403 451 417 485
rect 339 417 417 451
rect 339 383 369 417
rect 403 383 417 417
rect 339 297 417 383
rect 447 485 523 497
rect 447 451 477 485
rect 511 451 523 485
rect 447 417 523 451
rect 447 383 477 417
rect 511 383 523 417
rect 447 349 523 383
rect 447 315 477 349
rect 511 315 523 349
rect 447 297 523 315
<< ndiffc >>
rect 73 87 107 121
rect 265 59 299 93
rect 349 59 383 93
rect 477 127 511 161
rect 477 59 511 93
<< pdiffc >>
rect 73 409 107 443
rect 157 409 191 443
rect 265 451 299 485
rect 265 383 299 417
rect 369 451 403 485
rect 369 383 403 417
rect 477 451 511 485
rect 477 383 511 417
rect 477 315 511 349
<< poly >>
rect 309 497 339 523
rect 417 497 447 523
rect 117 455 147 481
rect 201 455 231 481
rect 117 265 147 371
rect 60 249 147 265
rect 60 215 76 249
rect 110 215 147 249
rect 60 199 147 215
rect 117 159 147 199
rect 201 265 231 371
rect 309 265 339 297
rect 417 265 447 297
rect 201 249 267 265
rect 201 215 217 249
rect 251 215 267 249
rect 201 199 267 215
rect 309 249 447 265
rect 309 215 325 249
rect 359 215 447 249
rect 309 199 447 215
rect 201 159 231 199
rect 309 177 339 199
rect 417 177 447 199
rect 117 49 147 75
rect 201 49 231 75
rect 309 21 339 47
rect 417 21 447 47
<< polycont >>
rect 76 215 110 249
rect 217 215 251 249
rect 325 215 359 249
<< locali >>
rect 0 527 29 561
rect 63 527 121 561
rect 155 527 213 561
rect 247 527 305 561
rect 339 527 397 561
rect 431 527 489 561
rect 523 527 552 561
rect 57 443 113 527
rect 249 485 315 527
rect 57 409 73 443
rect 107 409 113 443
rect 57 393 113 409
rect 147 443 207 459
rect 147 409 157 443
rect 191 409 207 443
rect 17 265 80 353
rect 147 349 207 409
rect 249 451 265 485
rect 299 451 315 485
rect 249 417 315 451
rect 249 383 265 417
rect 299 383 315 417
rect 353 485 443 493
rect 353 451 369 485
rect 403 451 443 485
rect 353 417 443 451
rect 353 383 369 417
rect 403 383 443 417
rect 147 315 335 349
rect 301 265 335 315
rect 17 249 155 265
rect 17 215 76 249
rect 110 215 155 249
rect 201 249 267 265
rect 201 215 217 249
rect 251 215 267 249
rect 301 249 359 265
rect 301 215 325 249
rect 301 199 359 215
rect 301 181 335 199
rect 57 143 335 181
rect 57 121 123 143
rect 57 87 73 121
rect 107 87 123 121
rect 393 109 443 383
rect 477 485 535 527
rect 511 451 535 485
rect 477 417 535 451
rect 511 383 535 417
rect 477 349 535 383
rect 511 315 535 349
rect 477 299 535 315
rect 57 71 123 87
rect 249 93 299 109
rect 249 59 265 93
rect 249 17 299 59
rect 333 93 443 109
rect 333 59 349 93
rect 383 59 443 93
rect 333 51 443 59
rect 477 161 535 177
rect 511 127 535 161
rect 477 93 535 127
rect 511 59 535 93
rect 477 17 535 59
rect 0 -17 29 17
rect 63 -17 121 17
rect 155 -17 213 17
rect 247 -17 305 17
rect 339 -17 397 17
rect 431 -17 489 17
rect 523 -17 552 17
<< viali >>
rect 29 527 63 561
rect 121 527 155 561
rect 213 527 247 561
rect 305 527 339 561
rect 397 527 431 561
rect 489 527 523 561
rect 29 -17 63 17
rect 121 -17 155 17
rect 213 -17 247 17
rect 305 -17 339 17
rect 397 -17 431 17
rect 489 -17 523 17
<< metal1 >>
rect 0 561 552 592
rect 0 527 29 561
rect 63 527 121 561
rect 155 527 213 561
rect 247 527 305 561
rect 339 527 397 561
rect 431 527 489 561
rect 523 527 552 561
rect 0 496 552 527
rect 0 17 552 48
rect 0 -17 29 17
rect 63 -17 121 17
rect 155 -17 213 17
rect 247 -17 305 17
rect 339 -17 397 17
rect 431 -17 489 17
rect 523 -17 552 17
rect 0 -48 552 -17
<< labels >>
flabel metal1 s 29 527 63 561 0 FreeSans 390 0 0 0 VPWR
port 1 nsew
flabel metal1 s 29 -17 63 17 0 FreeSans 390 0 0 0 VGND
port 2 nsew
flabel pwell s 29 -17 63 17 0 FreeSans 390 0 0 0 VNB
port 3 nsew
flabel nwell s 29 527 63 561 0 FreeSans 390 0 0 0 VPB
port 4 nsew
flabel locali s 29 221 63 255 0 FreeSans 488 0 0 0 A
port 5 nsew
flabel locali s 121 221 155 255 0 FreeSans 488 0 0 0 A
port 5 nsew
flabel locali s 397 425 431 459 0 FreeSans 488 0 0 0 X
port 6 nsew
flabel locali s 397 357 431 391 0 FreeSans 488 0 0 0 X
port 6 nsew
flabel locali s 397 289 431 323 0 FreeSans 488 0 0 0 X
port 6 nsew
flabel locali s 397 221 431 255 0 FreeSans 488 0 0 0 X
port 6 nsew
flabel locali s 397 85 431 119 0 FreeSans 488 0 0 0 X
port 6 nsew
flabel locali s 397 153 431 187 0 FreeSans 488 0 0 0 X
port 6 nsew
flabel locali s 213 221 247 255 0 FreeSans 488 0 0 0 B
port 7 nsew
<< properties >>
string FIXED_BBOX 0 0 552 544
<< end >>

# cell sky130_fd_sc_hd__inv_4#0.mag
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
